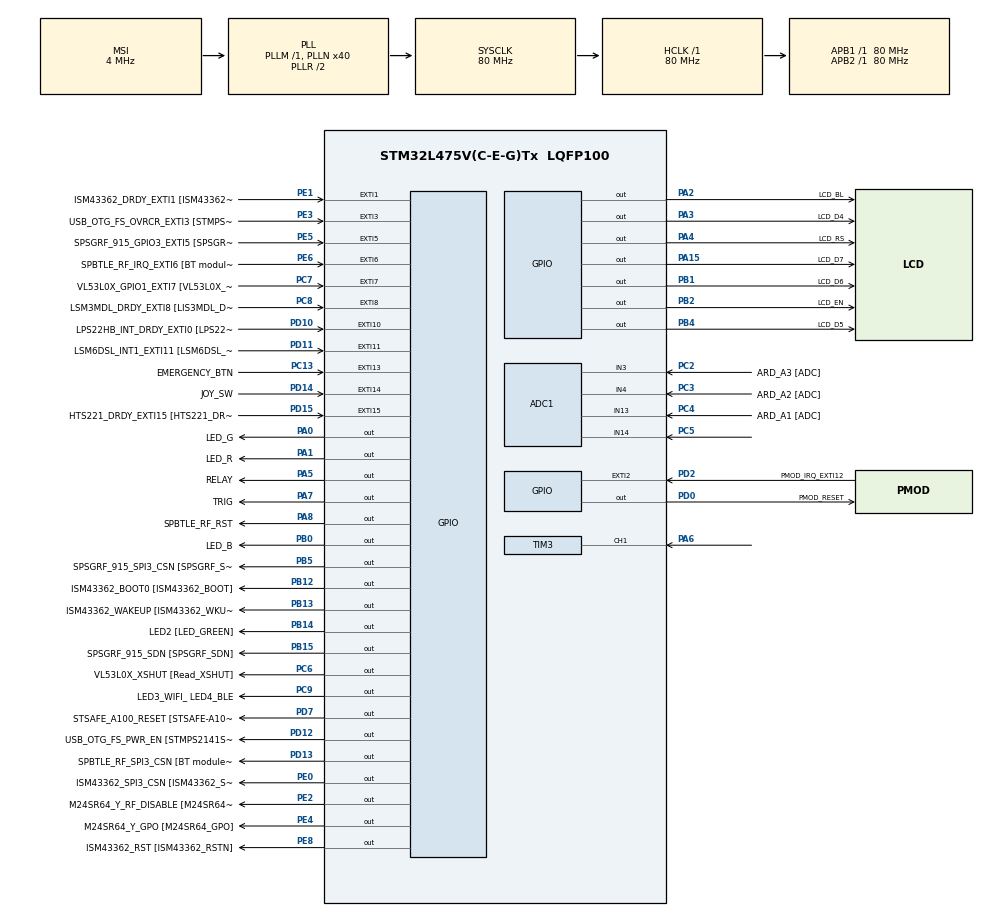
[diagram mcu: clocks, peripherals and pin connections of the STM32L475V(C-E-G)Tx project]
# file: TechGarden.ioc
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ADC1.Channel-0\#ChannelRegularConversion=ADC_CHANNEL_14
ADC1.Channel-1\#ChannelRegularConversion=ADC_CHANNEL_13
ADC1.Channel-2\#ChannelRegularConversion=ADC_CHANNEL_4
ADC1.Channel-3\#ChannelRegularConversion=ADC_CHANNEL_3
ADC1.NbrOfConversion=4
ADC1.NbrOfConversionFlag=1
ADC1.OffsetNumber-0\#ChannelRegularConversion=ADC_OFFSET_NONE
ADC1.OffsetNumber-1\#ChannelRegularConversion=ADC_OFFSET_NONE
ADC1.OffsetNumber-2\#ChannelRegularConversion=ADC_OFFSET_NONE
ADC1.OffsetNumber-3\#ChannelRegularConversion=ADC_OFFSET_NONE
ADC1.Rank-0\#ChannelRegularConversion=1
ADC1.Rank-1\#ChannelRegularConversion=2
ADC1.Rank-2\#ChannelRegularConversion=3
ADC1.Rank-3\#ChannelRegularConversion=4
ADC1.SamplingTime-0\#ChannelRegularConversion=ADC_SAMPLETIME_47CYCLES_5
ADC1.SamplingTime-1\#ChannelRegularConversion=ADC_SAMPLETIME_47CYCLES_5
ADC1.SamplingTime-2\#ChannelRegularConversion=ADC_SAMPLETIME_47CYCLES_5
ADC1.SamplingTime-3\#ChannelRegularConversion=ADC_SAMPLETIME_47CYCLES_5
ADC1.master=1
Mcu.Family=STM32L4
Mcu.Name=STM32L475V(C-E-G)Tx
Mcu.Package=LQFP100
NVIC.EXTI15_10_IRQn=true\:0\:0\:false\:false\:true\:true\:true\:true
NVIC.EXTI9_5_IRQn=true\:0\:0\:false\:false\:true\:true\:true\:true
NVIC.PriorityGroup=NVIC_PRIORITYGROUP_4
NVIC.TIM3_IRQn=true\:1\:0\:true\:false\:true\:true\:true\:true
PA0.GPIO_Label=LED_G
PA0.Signal=GPIO_Output
PA1.GPIO_Label=LED_R
PA1.Signal=GPIO_Output
PA10.GPIO_Label=USB_OTG_FS_ID
PA10.Signal=USB_OTG_FS_ID
PA11.GPIO_Label=USB_OTG_FS_DM
PA11.Signal=USB_OTG_FS_DM
PA12.GPIO_Label=USB_OTG_FS_DP
PA12.Signal=USB_OTG_FS_DP
PA13\ (JTMS-SWDIO).GPIO_Label=SYS_JTMS_SWDIO
PA13\ (JTMS-SWDIO).Mode=Serial_Wire
PA13\ (JTMS-SWDIO).Signal=SYS_JTMS-SWDIO
PA14\ (JTCK-SWCLK).GPIO_Label=SYS_JTCK_SWCLK
PA14\ (JTCK-SWCLK).Mode=Serial_Wire
PA14\ (JTCK-SWCLK).Signal=SYS_JTCK-SWCLK
PA15\ (JTDI).GPIO_Label=LCD_D7
PA15\ (JTDI).Signal=GPIO_Output
PA2.GPIO_Label=LCD_BL
PA2.Signal=GPIO_Output
PA3.GPIO_Label=LCD_D4
PA3.Signal=GPIO_Output
PA4.GPIO_Label=LCD_RS
PA4.Signal=GPIO_Output
PA5.GPIO_Label=RELAY
PA5.Signal=GPIO_Output
PA6.Signal=S_TIM3_CH1
PA7.GPIO_Label=TRIG
PA7.Signal=GPIO_Output
PA8.GPIO_Label=SPBTLE_RF_RST
PA8.Signal=GPIO_Output
PA9.GPIO_Label=USB_OTG_FS_VBUS [STMPS2141STR_OUT]
PA9.Signal=USB_OTG_FS_VBUS
PB0.GPIO_Label=LED_B
PB0.Signal=GPIO_Output
PB1.GPIO_Label=LCD_D6
PB1.Signal=GPIO_Output
PB10.GPIO_Label=INTERNAL_I2C2_SCL [VL53L0X_SCL]
PB10.Signal=I2C2_SCL
PB11.GPIO_Label=INTERNAL_I2C2_SDA [VL53L0X_SDA]
PB11.Signal=I2C2_SDA
PB12.GPIO_Label=ISM43362_BOOT0 [ISM43362_BOOT]
PB12.Signal=GPIO_Output
PB13.GPIO_Label=ISM43362_WAKEUP [ISM43362_WKUP]
PB13.Signal=GPIO_Output
PB14.GPIO_Label=LED2 [LED_GREEN]
PB14.Signal=GPIO_Output
PB15.GPIO_Label=SPSGRF_915_SDN [SPSGRF_SDN]
PB15.Signal=GPIO_Output
PB2.GPIO_Label=LCD_EN
PB2.Signal=GPIO_Output
PB3\ (JTDO-TRACESWO).GPIO_Label=SYS_JTD0_SWO
PB3\ (JTDO-TRACESWO).Signal=SYS_JTDO-SWO
PB4\ (NJTRST).GPIO_Label=LCD_D5
PB4\ (NJTRST).Signal=GPIO_Output
PB5.GPIO_Label=SPSGRF_915_SPI3_CSN [SPSGRF_SPI_CS]
PB5.PinState=GPIO_PIN_SET
PB5.Signal=GPIO_Output
PB6.GPIO_Label=ST_LINK_UART1_TX
PB6.Signal=USART1_TX
PB7.GPIO_Label=ST_LINK_UART1_RX
PB7.Signal=USART1_RX
PB8.GPIO_Label=ARD_D15 [I2C1_SCL]
PB8.Signal=I2C1_SCL
PB9.GPIO_Label=ARD_D14 [I2C1_SDA]
PB9.Signal=I2C1_SDA
PC0.GPIO_Label=ARD_A5 [ADC]
PC0.Signal=ADCx_IN1
PC1.GPIO_Label=ARD_A4 [ADC]
PC1.Signal=ADCx_IN2
PC10.GPIO_Label=INTERNAL_SPI3_SCK [BT module_SPI_SCLK] [ISM43362_SCK]
PC10.Signal=SPI3_SCK
PC11.GPIO_Label=INTERNAL_SPI3_MISO [BT module_SPI_MISO] [ISM43362_MISO]
PC11.Signal=SPI3_MISO
PC12.GPIO_Label=INTERNAL_SPI3_MOSI [BT module_SPI_MOSI] [ISM43362_MOSI]
PC12.Signal=SPI3_MOSI
PC13.GPIO_Label=EMERGENCY_BTN
PC13.GPIO_ModeDefaultEXTI=GPIO_MODE_IT_FALLING
PC13.Signal=GPXTI13
PC14-OSC32_IN\ (PC14).Mode=LSE-External-Oscillator
PC14-OSC32_IN\ (PC14).Signal=RCC_OSC32_IN
PC15-OSC32_OUT\ (PC15).Mode=LSE-External-Oscillator
PC15-OSC32_OUT\ (PC15).Signal=RCC_OSC32_OUT
PC2.GPIO_Label=ARD_A3 [ADC]
PC2.Signal=ADCx_IN3
PC3.GPIO_Label=ARD_A2 [ADC]
PC3.Signal=ADCx_IN4
PC4.GPIO_Label=ARD_A1 [ADC]
PC4.Signal=ADCx_IN13
PC5.Signal=ADCx_IN14
PC6.GPIO_Label=VL53L0X_XSHUT [Read_XSHUT]
PC6.Signal=GPIO_Output
PC7.GPIO_Label=VL53L0X_GPIO1_EXTI7 [VL53L0X_GPIO1]
PC7.Signal=GPXTI7
PC8.GPIO_Label=LSM3MDL_DRDY_EXTI8 [LIS3MDL_DRDY]
PC8.Signal=GPXTI8
PC9.GPIO_Label=LED3_WIFI_ LED4_BLE
PC9.Signal=GPIO_Output
PD0.GPIO_Label=PMOD_RESET
PD0.Signal=GPIO_Output
PD1.GPIO_Label=PMOD_SPI2_SCK
PD1.Signal=SPI2_SCK
PD10.GPIO_Label=LPS22HB_INT_DRDY_EXTI0 [LPS22HB_INT_DRDY] 
PD10.Signal=GPXTI10
PD11.GPIO_Label=LSM6DSL_INT1_EXTI11 [LSM6DSL_INT1]
PD11.Signal=GPXTI11
PD12.GPIO_Label=USB_OTG_FS_PWR_EN [STMPS2141STR_EN]
PD12.Signal=GPIO_Output
PD13.GPIO_Label=SPBTLE_RF_SPI3_CSN [BT module_SPI_CS]
PD13.PinState=GPIO_PIN_SET
PD13.Signal=GPIO_Output
PD14.GPIO_Label=JOY_SW
PD14.GPIO_ModeDefaultEXTI=GPIO_MODE_IT_FALLING
PD14.GPIO_PuPd=GPIO_PULLUP
PD14.Signal=GPXTI14
PD15.GPIO_Label=HTS221_DRDY_EXTI15 [HTS221_DRDY]
PD15.Signal=GPXTI15
PD2.GPIO_Label=PMOD_IRQ_EXTI12
PD2.Signal=GPXTI2
PD3.GPIO_Label=PMOD_UART2_CTS
PD3.Signal=USART2_CTS
PD4.GPIO_Label=PMOD_UART2_RTS
PD4.Signal=USART2_RTS
PD5.GPIO_Label=PMOD_UART2_TX
PD5.Signal=USART2_TX
PD6.GPIO_Label=PMOD_UART2_RX
PD6.Signal=USART2_RX
PD7.GPIO_Label=STSAFE_A100_RESET [STSAFE-A100_RESET]
PD7.Signal=GPIO_Output
PD8.GPIO_Label=INTERNAL_UART3_TX [ISM43362_RX]
PD8.Signal=USART3_TX
PD9.GPIO_Label=INTERNAL_UART3_RX [ISM43362_TX]
PD9.Signal=USART3_RX
PE0.GPIO_Label=ISM43362_SPI3_CSN [ISM43362_SSN]
PE0.PinState=GPIO_PIN_SET
PE0.Signal=GPIO_Output
PE1.GPIO_Label=ISM43362_DRDY_EXTI1 [ISM43362_DATARDY]
PE1.Signal=GPXTI1
PE10.GPIO_Label=QUADSPI_CLK [MX25R6435F_SCLK]
PE10.Signal=QUADSPI_CLK
PE11.GPIO_Label=QUADSPI_NCS [MX25R6435F_SCLK]
PE11.Signal=QUADSPI_NCS
PE12.GPIO_Label=OQUADSPI_BK1_IO0 [MX25R6435F_IO0]
PE12.Signal=QUADSPI_BK1_IO0
PE13.GPIO_Label=QUADSPI_BK1_IO1 [MX25R6435F_IO1]
PE13.Signal=QUADSPI_BK1_IO1
PE14.GPIO_Label=QUAD_SPI_BK1_IO2 [MX25R6435F_IO2]
PE14.Signal=QUADSPI_BK1_IO2
PE15.GPIO_Label=QUAD_SPI_BK1_IO3 [MX25R6435F_IO3]
PE15.Signal=QUADSPI_BK1_IO3
PE2.GPIO_Label=M24SR64_Y_RF_DISABLE [M24SR64_RFDIS]
PE2.Signal=GPIO_Output
PE3.GPIO_Label=USB_OTG_FS_OVRCR_EXTI3 [STMPS2141STR_FAULT]
PE3.Signal=GPXTI3
PE4.GPIO_Label=M24SR64_Y_GPO [M24SR64_GPO]
PE4.Signal=GPIO_Output
PE5.GPIO_Label=SPSGRF_915_GPIO3_EXTI5 [SPSGRF_GPIO_3]
PE5.Signal=GPXTI5
PE6.GPIO_Label=SPBTLE_RF_IRQ_EXTI6 [BT module_SPI_IRQ]
PE6.Signal=GPXTI6
PE7.GPIO_Label=DFSDM1_DATIN2 [MP34DT01_DOUT]
PE7.Signal=S_DATAIN2DFSDM1
PE8.GPIO_Label=ISM43362_RST [ISM43362_RSTN]
PE8.Signal=GPIO_Output
PE9.GPIO_Label=DFSDM1_CKOUT [MP34DT01_CLK]
PE9.Signal=S_CKOUTDFSDM1
PH0-OSC_IN\ (PH0).Mode=HSE-External-Clock-Source
PH0-OSC_IN\ (PH0).Signal=RCC_OSC_IN
ProjectManager.HeapSize=0x200
ProjectManager.StackSize=0x400
ProjectManager.TargetToolchain=STM32CubeIDE
RCC.ADCFreq_Value=48000000
RCC.AHBFreq_Value=80000000
RCC.APB1Freq_Value=80000000
RCC.APB1TimFreq_Value=80000000
RCC.APB2Freq_Value=80000000
RCC.APB2TimFreq_Value=80000000
RCC.CortexFreq_Value=80000000
RCC.HCLKFreq_Value=80000000
RCC.HSE_VALUE=8000000
RCC.HSI_VALUE=16000000
RCC.MSI_VALUE=4000000
RCC.PLLN=40
RCC.PLLSAI1N=24
RCC.SYSCLKFreq_VALUE=80000000
RCC.SYSCLKSource=RCC_SYSCLKSOURCE_PLLCLK
RCC.USBFreq_Value=48000000
RCC.VCOOutputFreq_Value=160000000
SH.ADCx_IN1.0=ADC1_IN1
SH.ADCx_IN13.0=ADC1_IN13,IN13-Single-Ended
SH.ADCx_IN14.0=ADC1_IN14,IN14-Single-Ended
SH.ADCx_IN2.0=ADC1_IN2
SH.ADCx_IN3.0=ADC1_IN3,IN3-Single-Ended
SH.ADCx_IN4.0=ADC1_IN4,IN4-Single-Ended
SH.S_CKOUTDFSDM1.0=DFSDM1_CKOUT
SH.S_DATAIN2DFSDM1.0=DFSDM1_DATIN2
SH.S_TIM3_CH1.0=TIM3_CH1,Input_Capture1_from_TI1
TIM3.Channel-Input_Capture1_from_TI1=TIM_CHANNEL_1
TIM3.ICPolarity_CH1=TIM_INPUTCHANNELPOLARITY_BOTHEDGE
TIM3.Prescaler=79
board=B-L475E-IOT01A2

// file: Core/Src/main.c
/* USER CODE BEGIN Header */
/**
 ******************************************************************************
 * @file           : main.c
 * @brief          : Main program body — B-L475E-IOT01A2
 ******************************************************************************
 */
/* USER CODE END Header */

#include "main.h"
#include "adc.h"
#include "tim.h"
#include "gpio.h"

/* USER CODE BEGIN Includes */
#include "lcd.h"
#include "menu.h"
/* USER CODE END Includes */

/* USER CODE BEGIN PV */
Lcd_PortType lcd_data_ports[] = {
    LCD_D4_GPIO_Port, LCD_D5_GPIO_Port,
    LCD_D6_GPIO_Port, LCD_D7_GPIO_Port
};
Lcd_PinType lcd_data_pins[] = {
    LCD_D4_Pin, LCD_D5_Pin,
    LCD_D6_Pin, LCD_D7_Pin
};

Lcd_HandleTypeDef hlcd;
UI_t ui;

uint32_t joy_x_raw  = 2048;
uint32_t joy_y_raw  = 2048;
uint32_t soil_raw   = 0;
uint32_t water_raw  = 0;

uint16_t soil_filtered = 0;

uint32_t last_keepalive_tick = 0;

/*
 * ── Sensor thresholds ──────────────────────────────────────────────────
 *   Resistive soil sensors: HIGH ADC = DRY, LOW ADC = WET.
 *   Resistive water sensors: HIGH ADC = MORE WATER.
 */
#define SOIL_DRY_THRESHOLD    180u
#define PUMP_ON_DURATION_MS   3000u
#define WATER_FULL_THRESH 850u
#define WATER_LOW_THRESH  250u

#define DEMO_FORCE_WATERING 1

/* USER CODE END PV */

void SystemClock_Config(void);

/* USER CODE BEGIN 0 */

static inline void rgb_set(uint8_t r, uint8_t g, uint8_t b)
{
    HAL_GPIO_WritePin(LED_R_GPIO_Port, LED_R_Pin, r ? GPIO_PIN_SET : GPIO_PIN_RESET);
    HAL_GPIO_WritePin(LED_G_GPIO_Port, LED_G_Pin, g ? GPIO_PIN_SET : GPIO_PIN_RESET);
    HAL_GPIO_WritePin(LED_B_GPIO_Port, LED_B_Pin, b ? GPIO_PIN_SET : GPIO_PIN_RESET);
}
static inline void rgb_off(void) { rgb_set(0,0,0); }

static inline void pump_on (void)
{ HAL_GPIO_WritePin(RELAY_GPIO_Port, RELAY_Pin, GPIO_PIN_SET);   }
static inline void pump_off(void)
{ HAL_GPIO_WritePin(RELAY_GPIO_Port, RELAY_Pin, GPIO_PIN_RESET); }

/* ── ADC polling helper ──*/
static void read_all_adc(void)
{
    __HAL_ADC_CLEAR_FLAG(&hadc1, ADC_FLAG_OVR);

    HAL_ADC_Start(&hadc1);

    /* Rank 1 → joy_x_raw (VRX, Ch14, A0) */
    if (HAL_ADC_PollForConversion(&hadc1, 10) == HAL_OK)
        joy_x_raw = HAL_ADC_GetValue(&hadc1);

    /* Rank 2 → joy_y_raw (VRY, Ch13, A1) */
    if (HAL_ADC_PollForConversion(&hadc1, 10) == HAL_OK)
        joy_y_raw = HAL_ADC_GetValue(&hadc1);

    /* Rank 3 → soil_raw  (Soil, Ch4, A2) */
    if (HAL_ADC_PollForConversion(&hadc1, 10) == HAL_OK)
        soil_raw  = HAL_ADC_GetValue(&hadc1);

    /* Rank 4 → water_raw (Water, Ch3, A3) */
    if (HAL_ADC_PollForConversion(&hadc1, 10) == HAL_OK)
        water_raw = HAL_ADC_GetValue(&hadc1);

    HAL_ADC_Stop(&hadc1);

    __HAL_ADC_CLEAR_FLAG(&hadc1, ADC_FLAG_OVR);
}

/* USER CODE END 0 */

int main(void)
{
    HAL_Init();
    SystemClock_Config();
    MX_GPIO_Init();
    MX_ADC1_Init();
    MX_TIM3_Init();

/* USER CODE BEGIN 2 */
    pump_off();
    rgb_off();
    HAL_Delay(100);

    HAL_ADCEx_Calibration_Start(&hadc1, ADC_SINGLE_ENDED);

    hlcd = Lcd_create(lcd_data_ports, lcd_data_pins,
                      LCD_RS_GPIO_Port, LCD_RS_Pin,
                      LCD_EN_GPIO_Port, LCD_EN_Pin,
                      LCD_4_BIT_MODE);

    read_all_adc();

    Menu_Init(&ui, &hlcd);
    last_keepalive_tick = HAL_GetTick();
/* USER CODE END 2 */

    while (1)
    {
/* USER CODE BEGIN WHILE */

    	read_all_adc();

        if (soil_filtered == 0u) {
            soil_filtered = (uint16_t)soil_raw;
        }
        else {
            soil_filtered = (uint16_t)((soil_filtered * 7u + (uint16_t)soil_raw) / 8u);
        }

        /* Sensor readings tests: Joystick axis, Water level, soil moisture */

//        char l0[17];
//		char l1[17];
//
//		snprintf(l0, sizeof(l0), "X%4lu Y%4lu", joy_x_raw, joy_y_raw);
//		snprintf(l1, sizeof(l1), "S%4lu W%4lu", soil_raw, water_raw);
//
//		Lcd_clear(&hlcd);
//		Lcd_cursor(&hlcd, 0, 0);
//		Lcd_string(&hlcd, l0);
//		Lcd_cursor(&hlcd, 1, 0);
//		Lcd_string(&hlcd, l1);
//
//		HAL_Delay(250);
//		continue;

        uint8_t btn = (HAL_GPIO_ReadPin(JOY_SW_GPIO_Port, JOY_SW_Pin)
                       == GPIO_PIN_RESET) ? 1u : 0u;

        ui.water_adc_raw = (uint16_t)water_raw;
        ui.soil_adc_raw  = soil_filtered;

        if (ui.plant_count > 0) {
            uint32_t now = HAL_GetTick();
            for (uint8_t i = 0; i < ui.plant_count; i++) {
                Plant_t *p = &ui.plants[i];

                if (!p->active)
                	continue;

                uint32_t interval_ms = p->watering_interval_sec * 1000u;
                if ((now - p->last_watered_tick) >= interval_ms) {
                    p->last_watered_tick = HAL_GetTick();
                    if ((DEMO_FORCE_WATERING) || (soil_filtered < SOIL_DRY_THRESHOLD)) {
                        rgb_set(0,0,1);
                        pump_on();
                        HAL_Delay(PUMP_ON_DURATION_MS);
                        pump_off();
                        rgb_off();
                    }
                }
            }
        }

        /* Water level indicator through RGB LED */
        if (water_raw >= WATER_FULL_THRESH)
        	rgb_set(0,1,0);
        else if (water_raw >= WATER_LOW_THRESH)
        	rgb_set(1,1,0);
        else
        	rgb_set(1,0,0);

        Menu_Update(&ui, &hlcd, (uint16_t)joy_x_raw, (uint16_t)joy_y_raw, btn);

        HAL_Delay(50);
/* USER CODE END WHILE */

/* USER CODE BEGIN 3 */
        /* Keepalive for powerbank: 200 ms red blink every 10 s */
        if ((HAL_GetTick() - last_keepalive_tick) >= 10000u){
            rgb_off();
            rgb_set(1,0,0);
            HAL_Delay(200);
            rgb_off();
            last_keepalive_tick = HAL_GetTick();
        }
    }
/* USER CODE END 3 */
}

void SystemClock_Config(void)
{
    RCC_OscInitTypeDef RCC_OscInitStruct = {0};
    RCC_ClkInitTypeDef RCC_ClkInitStruct = {0};
    if (HAL_PWREx_ControlVoltageScaling(PWR_REGULATOR_VOLTAGE_SCALE1) != HAL_OK) Error_Handler();
    HAL_PWR_EnableBkUpAccess();
    __HAL_RCC_LSEDRIVE_CONFIG(RCC_LSEDRIVE_LOW);
    RCC_OscInitStruct.OscillatorType      = RCC_OSCILLATORTYPE_LSE | RCC_OSCILLATORTYPE_MSI;
    RCC_OscInitStruct.LSEState            = RCC_LSE_ON;
    RCC_OscInitStruct.MSIState            = RCC_MSI_ON;
    RCC_OscInitStruct.MSICalibrationValue = 0;
    RCC_OscInitStruct.MSIClockRange       = RCC_MSIRANGE_6;
    RCC_OscInitStruct.PLL.PLLState        = RCC_PLL_ON;
    RCC_OscInitStruct.PLL.PLLSource       = RCC_PLLSOURCE_MSI;
    RCC_OscInitStruct.PLL.PLLM            = 1;
    RCC_OscInitStruct.PLL.PLLN            = 40;
    RCC_OscInitStruct.PLL.PLLP            = RCC_PLLP_DIV7;
    RCC_OscInitStruct.PLL.PLLQ            = RCC_PLLQ_DIV2;
    RCC_OscInitStruct.PLL.PLLR            = RCC_PLLR_DIV2;
    if (HAL_RCC_OscConfig(&RCC_OscInitStruct) != HAL_OK) Error_Handler();
    RCC_ClkInitStruct.ClockType      = RCC_CLOCKTYPE_HCLK|RCC_CLOCKTYPE_SYSCLK
                                     | RCC_CLOCKTYPE_PCLK1|RCC_CLOCKTYPE_PCLK2;
    RCC_ClkInitStruct.SYSCLKSource   = RCC_SYSCLKSOURCE_PLLCLK;
    RCC_ClkInitStruct.AHBCLKDivider  = RCC_SYSCLK_DIV1;
    RCC_ClkInitStruct.APB1CLKDivider = RCC_HCLK_DIV1;
    RCC_ClkInitStruct.APB2CLKDivider = RCC_HCLK_DIV1;
    if (HAL_RCC_ClockConfig(&RCC_ClkInitStruct, FLASH_LATENCY_4) != HAL_OK) Error_Handler();
    HAL_RCCEx_EnableMSIPLLMode();
}

void Error_Handler(void)
{
    __disable_irq();
    while (1) {}
}
